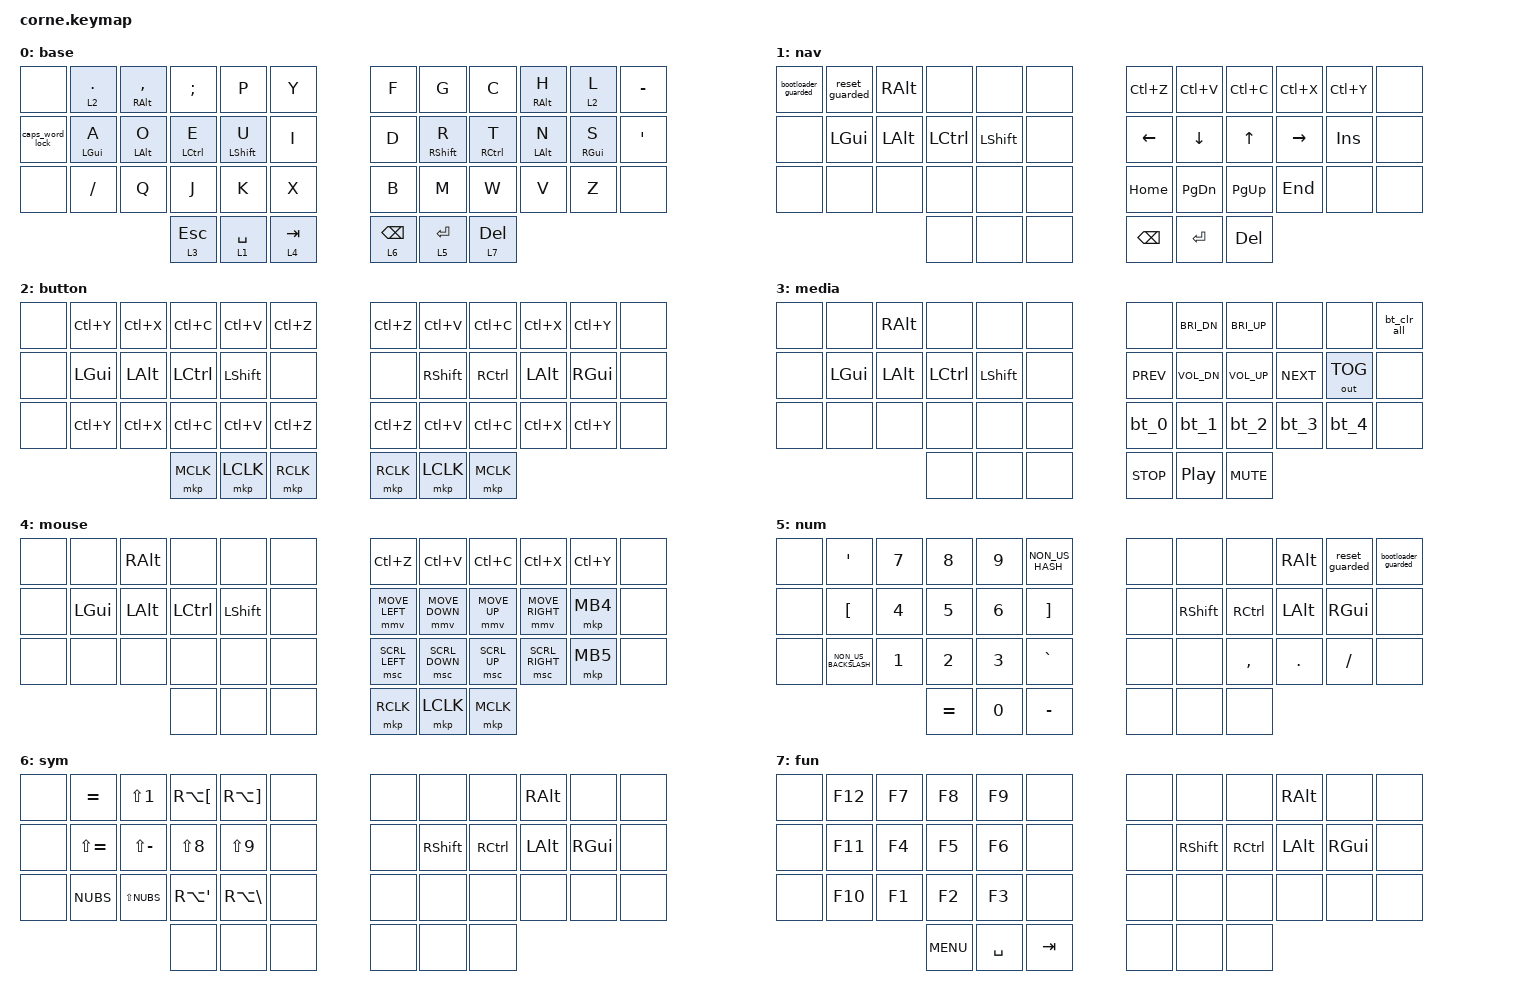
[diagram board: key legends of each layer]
/*
 * Copyright (c) 2020 The ZMK Contributors
 *
 * SPDX-License-Identifier: MIT
 */

#include <behaviors.dtsi>
#include <dt-bindings/zmk/bt.h>
#include <dt-bindings/zmk/keys.h>
#include <dt-bindings/zmk/outputs.h>
#include <dt-bindings/zmk/pointing.h>

&caps_word { continue-list = <BACKSPACE DELETE SLASH SEMI>; };

/ {
    behaviors {
        bt_0: bt_0 {
            compatible = "zmk,behavior-tap-dance";
            label = "BT_0";
            #binding-cells = <0>;
            bindings = <&bt BT_SEL 0>, <&bt BT_DISC 0>;
        };

        bt_1: bt_1 {
            compatible = "zmk,behavior-tap-dance";
            label = "BT_1";
            #binding-cells = <0>;
            bindings = <&bt BT_SEL 1>, <&bt BT_DISC 1>;
        };

        bt_2: bt_2 {
            compatible = "zmk,behavior-tap-dance";
            label = "BT_2";
            #binding-cells = <0>;
            bindings = <&bt BT_SEL 2>, <&bt BT_DISC 2>;
        };

        bt_3: bt_3 {
            compatible = "zmk,behavior-tap-dance";
            label = "BT_3";
            #binding-cells = <0>;
            bindings = <&bt BT_SEL 3>, <&bt BT_DISC 3>;
        };

        bt_4: bt_4 {
            compatible = "zmk,behavior-tap-dance";
            label = "BT_4";
            #binding-cells = <0>;
            bindings = <&bt BT_SEL 4>, <&bt BT_DISC 4>;
        };

        ltq: ltq {
            compatible = "zmk,behavior-hold-tap";
            label = "LTQ";
            bindings = <&mo>, <&kp>;

            #binding-cells = <2>;
            tapping-term-ms = <150>;
            quick-tap-ms = <200>;
            require-prior-idle-ms = <0>;
        };

        hrm: hrm {
            compatible = "zmk,behavior-hold-tap";
            label = "HRM";
            bindings = <&kp>, <&kp>;

            #binding-cells = <2>;
            tapping-term-ms = <200>;
            quick-tap-ms = <200>;
            require-prior-idle-ms = <150>;
            flavor = "tap-preferred";
        };

        caps_word_lock: caps_word_lock {
            compatible = "zmk,behavior-mod-morph";
            label = "CAPS_WORD_LOCK";
            bindings = <&kp CAPSLOCK>, <&caps_word>;

            #binding-cells = <0>;
            mods = <(MOD_LSFT|MOD_RSFT)>;
        };

        bt_clr_all: bt_clr_all {
            compatible = "zmk,behavior-tap-dance";
            label = "BT_CLR_ALL";
            #binding-cells = <0>;
            bindings = <&bt BT_CLR>, <&bt BT_CLR_ALL>;
        };

        hrml: hrml {
            compatible = "zmk,behavior-hold-tap";
            label = "HRML";
            #binding-cells = <2>;
            tapping-term-ms = <200>;
            quick-tap-ms = <200>;
            require-prior-idle-ms = <150>;
            flavor = "tap-preferred";
            bindings = <&mo>, <&kp>;
        };

        bootloader_guarded: bootloader_guarded {
            compatible = "zmk,behavior-tap-dance";
            label = "BOOTLOADER_GUARDED";
            #binding-cells = <0>;
            bindings = <&none>, <&bootloader>;
        };

        reset_guarded: reset_guarded {
            compatible = "zmk,behavior-tap-dance";
            label = "RESET_GUARDED";
            #binding-cells = <0>;
            bindings = <&none>, <&sys_reset>;
        };
    };

    keymap {
        compatible = "zmk,keymap";

        base {
            // -----------------------------------------------------------------------------------------
            // |  TAB |  Q  |  W  |  E  |  R  |  T  |   |  Y  |  U   |  I  |  O  |  P  | BSPC |
            // | CTRL |  A  |  S  |  D  |  F  |  G  |   |  H  |  J   |  K  |  L  |  ;  |  '   |
            // | SHFT |  Z  |  X  |  C  |  V  |  B  |   |  N  |  M   |  ,  |  .  |  /  | ESC  |
            //                    | GUI | LWR | SPC |   | ENT | RSE  | ALT |

            bindings = <
&none            &hrml 2 PERIOD   &hrm RIGHT_ALT COMMA  &kp SEMI       &kp P         &kp Y         &kp F             &kp G         &kp C          &hrm RIGHT_ALT H  &hrml 2 L         &kp MINUS
&caps_word_lock  &hrm LEFT_GUI A  &hrm LEFT_ALT O       &hrm LCTRL E   &hrm LSHFT U  &kp I         &kp D             &hrm RSHFT R  &hrm RCTRL T   &hrm LALT N       &hrm RIGHT_GUI S  &kp SQT
&none            &kp SLASH        &kp Q                 &kp J          &kp K         &kp X         &kp B             &kp M         &kp W          &kp V             &kp Z             &none
                                                        &ltq 3 ESCAPE  &ltq 1 SPACE  &ltq 4 TAB    &ltq 6 BACKSPACE  &ltq 5 ENTER  &ltq 7 DELETE
            >;
        };

        nav {
            bindings = <
&bootloader_guarded  &reset_guarded  &kp RIGHT_ALT  &none      &none      &none    &kp LC(Z)       &kp LC(V)       &kp LC(C)     &kp LC(X)  &kp LC(Y)   &none
&none                &kp LGUI        &kp LALT       &kp LCTRL  &kp LSHFT  &none    &kp LEFT_ARROW  &kp DOWN_ARROW  &kp UP_ARROW  &kp RIGHT  &kp INSERT  &none
&none                &none           &none          &none      &none      &none    &kp HOME        &kp PAGE_DOWN   &kp PAGE_UP   &kp END    &none       &none
                                                    &none      &none      &none    &kp BSPC        &kp ENTER       &kp DELETE
            >;
        };

        button {
            bindings = <
&none  &kp LC(Y)  &kp LC(X)  &kp LC(C)  &kp LC(V)  &kp LC(Z)    &kp LC(Z)  &kp LC(V)  &kp LC(C)  &kp LC(X)  &kp LC(Y)  &none
&none  &kp LGUI   &kp LALT   &kp LCTRL  &kp LSHFT  &none        &none      &kp RSHFT  &kp RCTRL  &kp LALT   &kp RGUI   &none
&none  &kp LC(Y)  &kp LC(X)  &kp LC(C)  &kp LC(V)  &kp LC(Z)    &kp LC(Z)  &kp LC(V)  &kp LC(C)  &kp LC(X)  &kp LC(Y)  &none
                             &mkp MCLK  &mkp LCLK  &mkp RCLK    &mkp RCLK  &mkp LCLK  &mkp MCLK
            >;
        };

        media {
            bindings = <
&none  &none         &kp RIGHT_ALT  &none      &none      &none    &none       &kp C_BRI_DN      &kp C_BRI_UP  &none       &none         &bt_clr_all
&none  &kp LEFT_GUI  &kp LALT       &kp LCTRL  &kp LSHFT  &none    &kp C_PREV  &kp C_VOL_DN      &kp C_VOL_UP  &kp C_NEXT  &out OUT_TOG  &none
&none  &none         &none          &none      &none      &none    &bt_0       &bt_1             &bt_2         &bt_3       &bt_4         &none
                                    &none      &none      &none    &kp C_STOP  &kp C_PLAY_PAUSE  &kp C_MUTE
            >;
        };

        mouse {
            bindings = <
&none  &none     &kp RIGHT_ALT  &none      &none      &none    &kp LC(Z)       &kp LC(V)       &kp LC(C)     &kp LC(X)        &kp LC(Y)  &none
&none  &kp LGUI  &kp LALT       &kp LCTRL  &kp LSHFT  &none    &mmv MOVE_LEFT  &mmv MOVE_DOWN  &mmv MOVE_UP  &mmv MOVE_RIGHT  &mkp MB4   &none
&none  &none     &none          &none      &none      &none    &msc SCRL_LEFT  &msc SCRL_DOWN  &msc SCRL_UP  &msc SCRL_RIGHT  &mkp MB5   &none
                                &none      &none      &none    &mkp RCLK       &mkp LCLK       &mkp MCLK
            >;
        };

        num {
            bindings = <
&none  &kp APOS              &kp N7  &kp N8     &kp N9  &kp NON_US_HASH    &none  &none      &none      &kp RALT  &reset_guarded  &bootloader_guarded
&none  &kp LBKT              &kp N4  &kp N5     &kp N6  &kp RBKT           &none  &kp RSHFT  &kp RCTRL  &kp LALT  &kp RGUI        &none
&none  &kp NON_US_BACKSLASH  &kp N1  &kp N2     &kp N3  &kp GRAVE          &none  &none      &kp COMMA  &kp DOT   &kp FSLH        &none
                                     &kp EQUAL  &kp N0  &kp MINUS          &none  &none      &none
            >;
        };

        sym {
            bindings = <
&none  &kp EQUAL      &kp LS(NUMBER_1)  &kp RA(LBKT)  &kp RA(RBKT)       &none    &none  &none      &none      &kp RIGHT_ALT  &none     &none
&none  &kp LS(EQUAL)  &kp LS(MINUS)     &kp LS(N8)    &kp LS(N9)         &none    &none  &kp RSHFT  &kp RCTRL  &kp LALT       &kp RGUI  &none
&none  &kp NUBS       &kp LS(NUBS)      &kp RA(APOS)  &kp RA(BACKSLASH)  &none    &none  &none      &none      &none          &none     &none
                                        &none         &none              &none    &none  &none      &none
            >;
        };

        fun {
            bindings = <
&none  &kp F12  &kp F7  &kp F8      &kp F9     &none      &none  &none      &none      &kp RIGHT_ALT  &none     &none
&none  &kp F11  &kp F4  &kp F5      &kp F6     &none      &none  &kp RSHFT  &kp RCTRL  &kp LALT       &kp RGUI  &none
&none  &kp F10  &kp F1  &kp F2      &kp F3     &none      &none  &none      &none      &none          &none     &none
                        &kp C_MENU  &kp SPACE  &kp TAB    &none  &none      &none
            >;
        };
    };
};
